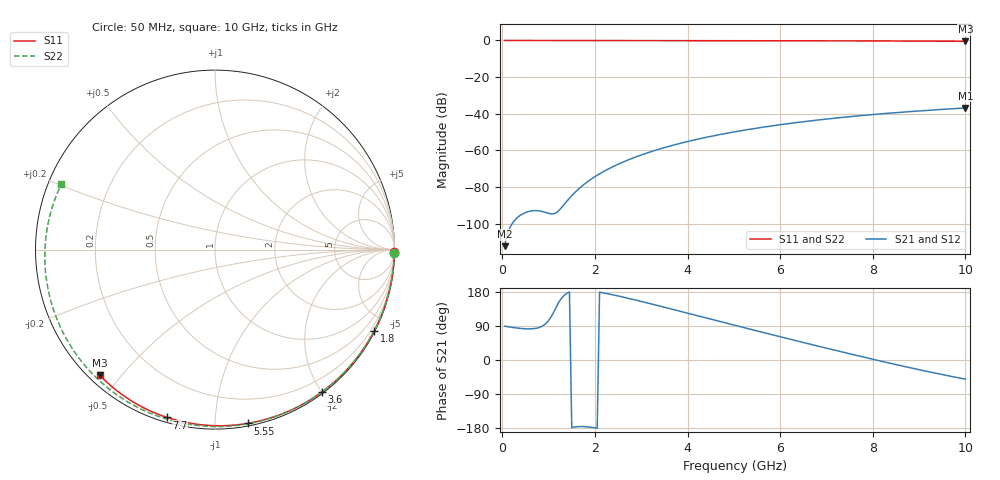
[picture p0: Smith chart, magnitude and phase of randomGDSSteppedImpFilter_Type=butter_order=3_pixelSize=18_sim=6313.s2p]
! freq	dB(S11)	phase(S11)	dB(S12)	phase(S12)
!  dB(S21)	phase(S21)	dB(S22)	phase(S22)
!S-par simulation data
#  GHz  S  DB  R 50
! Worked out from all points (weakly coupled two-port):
!   200 points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, 50 MHz to 10 GHz, reference 50 ohm
!   highest |S21| = -36.80 dB at 10 GHz (marker M1); lowest = -112.2 dB at 50 MHz (marker M2)
!   lowest |S11| = -0.4 dB at 10 GHz (marker M3), VSWR 38.69, Z = 1.54 - j21.9 ohm
!   |S11| at or under -10 dB: nowhere
!   |S22| runs from -0.6 to 0.0 dB; largest |S21 - S12| = 0
!   S11 on the Smith chart (normalised r, x): 50 MHz: open; 1.8 GHz: 0.04, -4.13; 3.6 GHz: 0.02, -2.00; 5.55 GHz: 0.02, -1.20; 7.7 GHz: 0.02, -0.75; 10 GHz: 0.03, -0.44
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0.05  -0.00 -0.8  -112.21 89.2  -112.21 89.2  -0.00 -1.2
0.4  -0.01 -6.1  -95.17 83.2  -95.17 83.2  -0.01 -9.5
0.8  -0.02 -12.2  -92.97 85.9  -92.97 85.9  -0.02 -19.0
1.2  -0.02 -18.2  -93.29 147.9  -93.29 147.9  -0.04 -28.4
1.65  -0.03 -25.0  -80.95 -175.6  -80.95 -175.6  -0.05 -38.8
1.7  -0.03 -25.7  -79.85 -175.5  -79.85 -175.5  -0.05 -39.9
1.75  -0.03 -26.5  -78.81 -175.7  -78.81 -175.7  -0.05 -41.0
1.8  -0.03 -27.2  -77.83 -176.1  -77.83 -176.1  -0.05 -42.2
2.1  -0.04 -31.6  -72.75 179.0  -72.75 179.0  -0.06 -48.9
2.5  -0.05 -37.5  -67.53 169.0  -67.53 169.0  -0.07 -57.8
2.9  -0.06 -43.3  -63.39 157.5  -63.39 157.5  -0.09 -66.4
3.4  -0.07 -50.4  -59.19 142.3  -59.19 142.3  -0.10 -77.0
3.6  -0.07 -53.2  -57.74 136.1  -57.74 136.1  -0.11 -81.1
4.3  -0.09 -62.8  -53.39 114.2  -53.39 114.2  -0.13 -95.3
5.05  -0.11 -72.9  -49.69 90.7  -49.69 90.7  -0.17 -109.8
5.55  -0.13 -79.4  -47.62 75.2  -47.62 75.2  -0.19 -119.3
6.15  -0.15 -87.0  -45.46 56.8  -45.46 56.8  -0.23 -130.4
6.7  -0.18 -93.9  -43.73 40.1  -43.73 40.1  -0.27 -140.5
7.7  -0.24 -106.0  -41.09 10.6  -41.09 10.6  -0.35 -158.7
8.35  -0.29 -113.6  -39.67 -7.9  -39.67 -7.9  -0.41 -170.7
9.2  -0.36 -123.5  -38.10 -30.8  -38.10 -30.8  -0.51 173.0
10  -0.45 -132.6  -36.80 -50.5  -36.80 -50.5  -0.62 156.8
